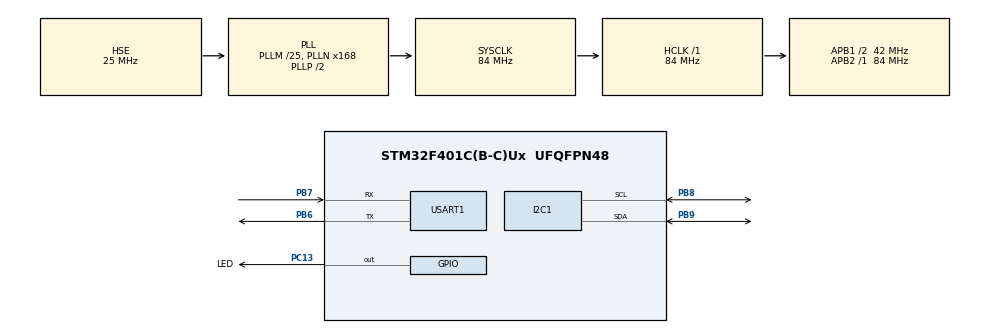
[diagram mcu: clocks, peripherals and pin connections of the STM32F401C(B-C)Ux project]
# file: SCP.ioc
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Mcu.Family=STM32F4
Mcu.Name=STM32F401C(B-C)Ux
Mcu.Package=UFQFPN48
NVIC.PriorityGroup=NVIC_PRIORITYGROUP_4
PB6.Mode=Asynchronous
PB6.Signal=USART1_TX
PB7.Mode=Asynchronous
PB7.Signal=USART1_RX
PB8.GPIO_Pu=GPIO_PULLUP
PB8.Mode=I2C
PB8.Signal=I2C1_SCL
PB9.GPIO_Pu=GPIO_PULLUP
PB9.Mode=I2C
PB9.Signal=I2C1_SDA
PC13-ANTI_TAMP.GPIO_Label=LED
PC13-ANTI_TAMP.Signal=GPIO_Output
PH0\ -\ OSC_IN.Mode=HSE-External-Oscillator
PH0\ -\ OSC_IN.Signal=RCC_OSC_IN
PH1\ -\ OSC_OUT.Mode=HSE-External-Oscillator
PH1\ -\ OSC_OUT.Signal=RCC_OSC_OUT
ProjectManager.HeapSize=0x200
ProjectManager.StackSize=0x400
ProjectManager.TargetToolchain=STM32CubeIDE
RCC.48MHZClocksFreq_Value=42000000
RCC.AHBFreq_Value=84000000
RCC.APB1CLKDivider=RCC_HCLK_DIV2
RCC.APB1Freq_Value=42000000
RCC.APB1TimFreq_Value=84000000
RCC.APB2Freq_Value=84000000
RCC.APB2TimFreq_Value=84000000
RCC.CortexFreq_Value=84000000
RCC.HCLKFreq_Value=84000000
RCC.HSE_VALUE=25000000
RCC.HSI_VALUE=16000000
RCC.LSE_VALUE=32768
RCC.PLLM=25
RCC.PLLN=168
RCC.PLLSourceVirtual=RCC_PLLSOURCE_HSE
RCC.SYSCLKFreq_VALUE=84000000
RCC.SYSCLKSource=RCC_SYSCLKSOURCE_PLLCLK
RCC.VCOOutputFreq_Value=168000000
USART1.VirtualMode=VM_ASYNC
board=custom

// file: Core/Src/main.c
/* USER CODE BEGIN Header */
/**
  ******************************************************************************
  * @file           : main.c
  * @brief          : Main program body
  ******************************************************************************
  * @attention
  *
  * Copyright (c) 2022 STMicroelectronics.
  * All rights reserved.
  *
  * This software is licensed under terms that can be found in the LICENSE file
  * in the root directory of this software component.
  * If no LICENSE file comes with this software, it is provided AS-IS.
  *
  ******************************************************************************
  */
/* USER CODE END Header */
#include "main.h"

/* USER CODE BEGIN Includes */
#include <stdio.h>
#include <string.h>
#include <stdlib.h>

#include "baro.h"

/* USER CODE END Includes */

/* USER CODE BEGIN PM */
#define countof(_a) (sizeof(_a)/sizeof(_a[0]))

/* USER CODE END PM */

I2C_HandleTypeDef hi2c1;

UART_HandleTypeDef huart1;

/* USER CODE BEGIN PV */
/* Check whether packed attribute is needed */

/* USER CODE END PV */

void SystemClock_Config(void);
static void MX_GPIO_Init(void);
static void MX_USART1_UART_Init(void);
static void MX_I2C1_Init(void);

int main(void)
{
  /* USER CODE BEGIN 1 */
	char text[100];

  /* USER CODE END 1 */

  /* MCU Configuration--------------------------------------------------------*/

  /* Reset of all peripherals, Initializes the Flash interface and the Systick. */
  HAL_Init();

  /* Configure the system clock */
  SystemClock_Config();

  /* Initialize all configured peripherals */
  MX_GPIO_Init();
  MX_USART1_UART_Init();
  MX_I2C1_Init();
  /* USER CODE BEGIN 2 */

  if (baro_init() != BARO_OK){
	snprintf(text, countof(text), "Error init baro\n");
	HAL_UART_Transmit(&huart1, (uint8_t*)text, strnlen(text, countof(text)), HAL_MAX_DELAY);
	while(1){};
  }

  /* USER CODE END 2 */

  /* Infinite loop */
  /* USER CODE BEGIN WHILE */

  while (1)
  {
	  int32_t temp = baro_read_temp();
	  int32_t pres = baro_read_press();
	  if (temp == INT32_MAX || pres == INT32_MAX) {
		  snprintf(text, countof(text), "Error reading temperature/pressure from baro\n");
	  } else {
		  snprintf(text, countof(text), "/*%ld.%02ld,%ld.%02ld*/\n", temp / 100, temp % 100, pres / 100, pres % 100);
	  }
	  HAL_UART_Transmit(&huart1, (uint8_t*)text, strnlen(text, countof(text)), HAL_MAX_DELAY);

	  /* any delay to avoid spamming on port */
	  HAL_Delay(10);

    /* USER CODE END WHILE */

  }
}

void SystemClock_Config(void)
{
  RCC_OscInitTypeDef RCC_OscInitStruct = {0};
  RCC_ClkInitTypeDef RCC_ClkInitStruct = {0};

  /** Configure the main internal regulator output voltage
  */
  __HAL_RCC_PWR_CLK_ENABLE();
  __HAL_PWR_VOLTAGESCALING_CONFIG(PWR_REGULATOR_VOLTAGE_SCALE2);

  /** Initializes the RCC Oscillators according to the specified parameters
  * in the RCC_OscInitTypeDef structure.
  */
  RCC_OscInitStruct.OscillatorType = RCC_OSCILLATORTYPE_HSE;
  RCC_OscInitStruct.HSEState = RCC_HSE_ON;
  RCC_OscInitStruct.PLL.PLLState = RCC_PLL_ON;
  RCC_OscInitStruct.PLL.PLLSource = RCC_PLLSOURCE_HSE;
  RCC_OscInitStruct.PLL.PLLM = 25;
  RCC_OscInitStruct.PLL.PLLN = 168;
  RCC_OscInitStruct.PLL.PLLP = RCC_PLLP_DIV2;
  RCC_OscInitStruct.PLL.PLLQ = 4;
  if (HAL_RCC_OscConfig(&RCC_OscInitStruct) != HAL_OK)
  {
    Error_Handler();
  }

  /** Initializes the CPU, AHB and APB buses clocks
  */
  RCC_ClkInitStruct.ClockType = RCC_CLOCKTYPE_HCLK|RCC_CLOCKTYPE_SYSCLK
                              |RCC_CLOCKTYPE_PCLK1|RCC_CLOCKTYPE_PCLK2;
  RCC_ClkInitStruct.SYSCLKSource = RCC_SYSCLKSOURCE_PLLCLK;
  RCC_ClkInitStruct.AHBCLKDivider = RCC_SYSCLK_DIV1;
  RCC_ClkInitStruct.APB1CLKDivider = RCC_HCLK_DIV2;
  RCC_ClkInitStruct.APB2CLKDivider = RCC_HCLK_DIV1;

  if (HAL_RCC_ClockConfig(&RCC_ClkInitStruct, FLASH_LATENCY_2) != HAL_OK)
  {
    Error_Handler();
  }
}

static void MX_I2C1_Init(void)
{

  hi2c1.Instance = I2C1;
  hi2c1.Init.ClockSpeed = 100000;
  hi2c1.Init.DutyCycle = I2C_DUTYCYCLE_2;
  hi2c1.Init.OwnAddress1 = 0;
  hi2c1.Init.AddressingMode = I2C_ADDRESSINGMODE_7BIT;
  hi2c1.Init.DualAddressMode = I2C_DUALADDRESS_DISABLE;
  hi2c1.Init.OwnAddress2 = 0;
  hi2c1.Init.GeneralCallMode = I2C_GENERALCALL_DISABLE;
  hi2c1.Init.NoStretchMode = I2C_NOSTRETCH_DISABLE;
  if (HAL_I2C_Init(&hi2c1) != HAL_OK)
  {
    Error_Handler();
  }

}

static void MX_USART1_UART_Init(void)
{

  huart1.Instance = USART1;
  huart1.Init.BaudRate = 115200;
  huart1.Init.WordLength = UART_WORDLENGTH_8B;
  huart1.Init.StopBits = UART_STOPBITS_1;
  huart1.Init.Parity = UART_PARITY_NONE;
  huart1.Init.Mode = UART_MODE_TX_RX;
  huart1.Init.HwFlowCtl = UART_HWCONTROL_NONE;
  huart1.Init.OverSampling = UART_OVERSAMPLING_16;
  if (HAL_UART_Init(&huart1) != HAL_OK)
  {
    Error_Handler();
  }

}

static void MX_GPIO_Init(void)
{
  GPIO_InitTypeDef GPIO_InitStruct = {0};

  /* GPIO Ports Clock Enable */
  __HAL_RCC_GPIOC_CLK_ENABLE();
  __HAL_RCC_GPIOH_CLK_ENABLE();
  __HAL_RCC_GPIOB_CLK_ENABLE();

  /*Configure GPIO pin Output Level */
  HAL_GPIO_WritePin(LED_GPIO_Port, LED_Pin, GPIO_PIN_RESET);

  /*Configure GPIO pin : LED_Pin */
  GPIO_InitStruct.Pin = LED_Pin;
  GPIO_InitStruct.Mode = GPIO_MODE_OUTPUT_PP;
  GPIO_InitStruct.Pull = GPIO_NOPULL;
  GPIO_InitStruct.Speed = GPIO_SPEED_FREQ_LOW;
  HAL_GPIO_Init(LED_GPIO_Port, &GPIO_InitStruct);

}

void Error_Handler(void)
{
  __disable_irq();
  while (1)
  {
  }
}
